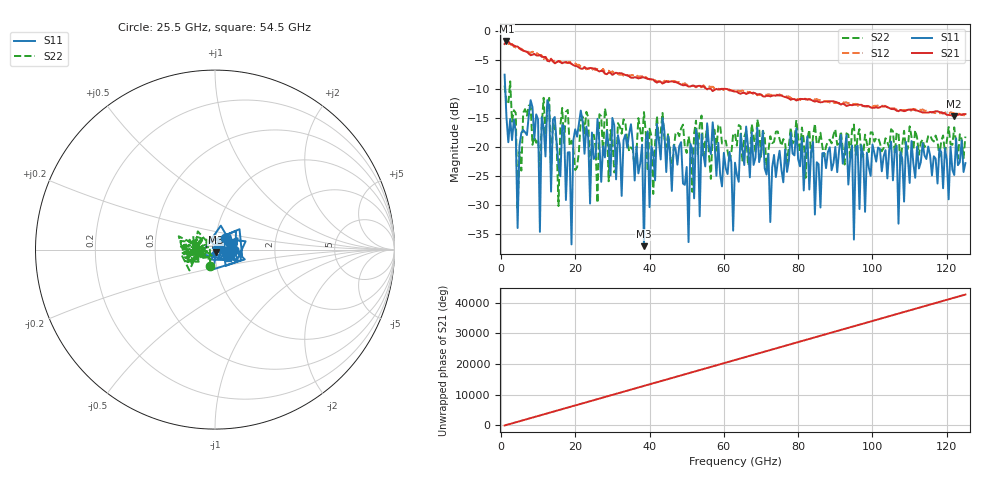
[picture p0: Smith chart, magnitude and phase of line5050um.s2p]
! Created with skrf 2.1.0 (http://scikit-rf.org).
# GHz S RI R 50.0
!freq ReS11 ImS11 ReS21 ImS21 ReS12 ImS12 ReS22 ImS22
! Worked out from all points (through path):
!   249 points, 1 GHz to 125 GHz, reference 50 ohm
!   highest |S21| = -1.70 dB at 1.5 GHz (marker M1); lowest = -14.7 dB at 122 GHz (marker M2)
!   lowest |S11| = -37.2 dB at 38.5 GHz (marker M3), VSWR 1.03, Z = 50.3 - j1.36 ohm
!   |S11| at or under -10 dB: 1.167 GHz to end of sweep
!   |S22| runs from -30.9 to -8.7 dB; largest |S21 - S12| = 0.1
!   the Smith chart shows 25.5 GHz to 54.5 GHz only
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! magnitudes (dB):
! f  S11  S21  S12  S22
! 1 GHz  -7.5  -2.2  -1.6  -9.4
! 1.5 GHz  -14.9  -1.7  -1.7  -12.4
! 4.5 GHz  -34.0  -2.7  -2.7  -30.9
! 10 GHz  -15.3  -4.3  -4.0  -18.7
! 10.5 GHz  -34.7  -4.1  -4.2  -23.4
! 11 GHz  -14.9  -4.4  -4.2  -16.3
! 17 GHz  -16.4  -5.4  -5.2  -19.3
! 19 GHz  -36.9  -5.7  -5.6  -19.0
! 22 GHz  -15.5  -6.5  -6.3  -14.8
! 38 GHz  -19.6  -8.0  -7.8  -19.0
! 38.5 GHz  -37.2  -8.0  -8.2  -14.0
! 39 GHz  -18.7  -8.1  -7.9  -17.7
! 42.5 GHz  -18.9  -8.7  -8.6  -18.9
! 50.5 GHz  -36.5  -9.6  -9.3  -18.2
! 52.5 GHz  -17.0  -9.6  -9.7  -15.5
! 63 GHz  -22.7  -10.4  -10.3  -17.7
! 84 GHz  -19.2  -12.1  -11.7  -18.2
! 94.5 GHz  -19.8  -12.8  -12.5  -17.1
! 95 GHz  -36.0  -12.7  -12.7  -16.1
! 104.5 GHz  -20.5  -13.3  -13.1  -20.1
! 122 GHz  -24.9  -14.7  -14.3  -16.6
! 125 GHz  -22.8  -14.4  -14.6  -18.2
